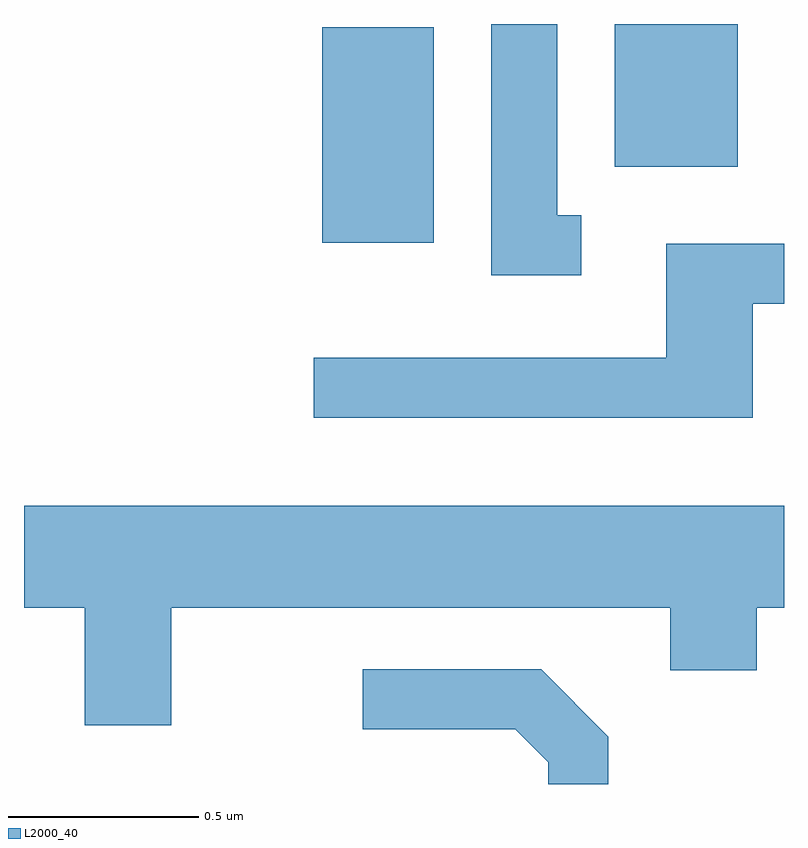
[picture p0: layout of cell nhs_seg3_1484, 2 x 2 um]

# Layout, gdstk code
import gdstk
lib = gdstk.Library(unit=1e-6, precision=1e-09)
def R(c, l, rs):  # rectangles x0, y0, x1, y1
    for r in rs: c.add(gdstk.rectangle(r[:2], r[2:], *l))
def P(c, l, *ps):  # polygons
    for p in ps: c.add(gdstk.Polygon(p, *l))
L2000_40 = (2000, 40)

nhs_seg3_1484 = lib.new_cell('nhs_seg3_1484')
R(nhs_seg3_1484, L2000_40, [(196.396,1231.316,196.689,1231.884), (197.166,1231.516,197.489,1231.892)])
P(nhs_seg3_1484, L2000_40, [(197.078,1231.389),(197.014,1231.389),(197.014,1231.892),(196.841,1231.892),(196.841,1231.231),(197.078,1231.231)],
  [(197.529,1231.156),(197.611,1231.156),(197.611,1231.314),(197.301,1231.314),(197.301,1231.014),(196.373,1231.014),(196.373,1230.856),(197.529,1230.856)],
  [(195.999,1230.356),(197.311,1230.356),(197.311,1230.191),(197.539,1230.191),(197.539,1230.356),(197.611,1230.356),(197.611,1230.624),(195.611,1230.624),(195.611,1230.356),(195.771,1230.356),(195.771,1230.046),(195.999,1230.046)],
  [(197.149,1230.017),(196.972,1230.194),(196.503,1230.194),(196.503,1230.036),(196.904,1230.036),(196.991,1229.949),(196.991,1229.892),(197.149,1229.892)])

lib.write_gds('nhs_seg3_1484.gds')
